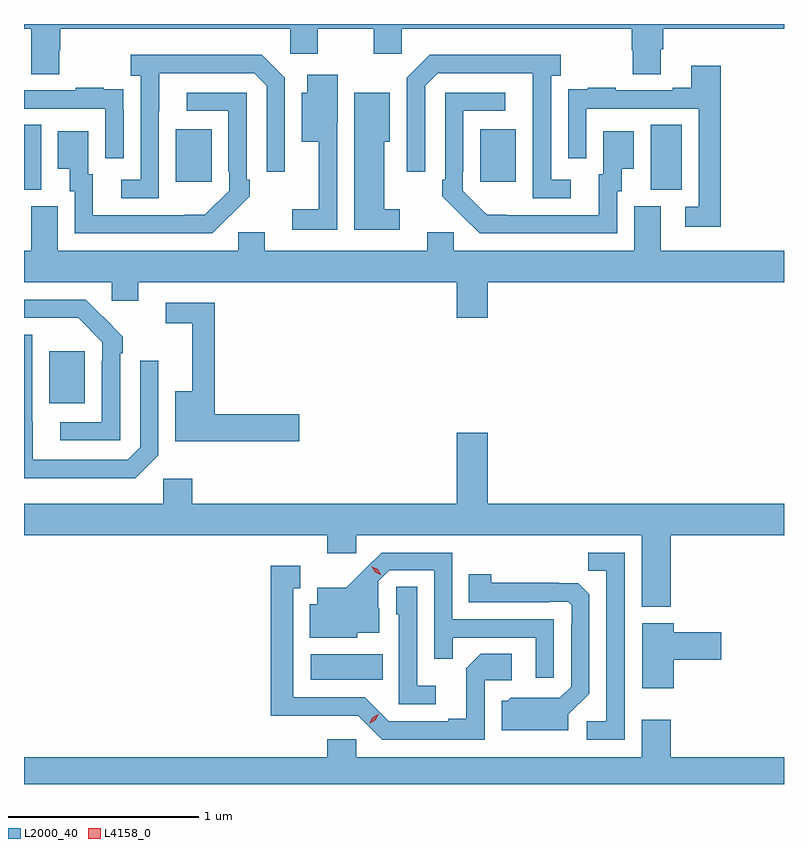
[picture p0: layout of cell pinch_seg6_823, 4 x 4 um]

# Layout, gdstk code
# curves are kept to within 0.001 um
import gdstk
lib = gdstk.Library(unit=1e-6, precision=1e-09)
def R(c, l, rs):  # rectangles x0, y0, x1, y1
    for r in rs: c.add(gdstk.rectangle(r[:2], r[2:], *l))
def P(c, l, *ps):  # polygons
    for p in ps: c.add(gdstk.Polygon(p, *l))
L2000_40 = (2000, 40)
L4158_0 = (4158, 0)

pinch_seg6_823 = lib.new_cell('pinch_seg6_823')
R(pinch_seg6_823, L2000_40, [(140.262,982.538,140.642,982.672), (138.887,983.993,139.075,984.268), (138.754,985.117,138.844,985.46), (142.052,985.117,142.216,985.46), (139.553,985.161,139.741,985.435), (141.155,985.161,141.343,985.435)])
P(pinch_seg6_823, L2000_40, [(138.939,985.851),(138.944,985.851),(138.944,985.964),(140.154,985.964),(140.154,985.833),(140.301,985.833),(140.301,985.964),(140.596,985.964),(140.596,985.833),(140.742,985.833),(140.742,985.964),(141.953,985.964),(141.953,985.851),(141.958,985.851),(141.958,985.726),(142.105,985.726),(142.105,985.858),(142.118,985.858),(142.118,985.964),(142.754,985.964),(142.754,985.99),(138.754,985.99),(138.754,985.964),(138.791,985.964),(138.791,985.726),(138.939,985.726)],
  [(141.631,985.17),(141.528,985.17),(141.528,985.718),(141.58,985.718),(141.58,985.828),(140.89,985.828),(140.769,985.707),(140.769,985.212),(140.865,985.212),(140.865,985.665),(140.931,985.731),(141.431,985.731),(141.432,985.074),(141.631,985.074)],
  [(139.464,985.531),(139.465,985.731),(139.965,985.731),(140.031,985.665),(140.031,985.212),(140.127,985.212),(140.127,985.707),(140.006,985.828),(139.317,985.828),(139.317,985.718),(139.368,985.718),(139.368,985.17),(139.266,985.17),(139.266,985.074),(139.464,985.074)],
  [(142.421,985.771),(142.265,985.771),(142.265,985.654),(142.169,985.654),(142.169,985.641),(141.869,985.641),(141.869,985.654),(141.721,985.654),(141.721,985.647),(141.619,985.647),(141.619,985.538),(141.618,985.538),(141.618,985.284),(141.714,985.284),(141.714,985.545),(142.305,985.545),(142.305,985.029),(142.233,985.029),(142.233,984.924),(142.421,984.924)],
  [(140.403,985.474),(140.404,985.474),(140.404,985.723),(140.246,985.723),(140.246,985.627),(140.216,985.627),(140.216,985.37),(140.306,985.37),(140.306,985.015),(140.166,985.015),(140.166,984.906),(140.403,984.906)],
  [(139.278,985.538),(139.277,985.538),(139.277,985.647),(139.175,985.647),(139.175,985.654),(139.027,985.654),(139.027,985.641),(138.754,985.641),(138.754,985.545),(139.182,985.545),(139.182,985.284),(139.278,985.284)],
  [(141.876,985.11),(141.901,985.11),(141.901,985.229),(141.964,985.229),(141.964,985.426),(141.803,985.426),(141.803,985.2),(141.779,985.2),(141.779,984.984),(141.192,984.985),(141.063,985.113),(141.063,985.213),(141.066,985.213),(141.066,985.533),(141.286,985.533),(141.286,985.629),(140.97,985.629),(140.97,985.171),(140.955,985.171),(140.955,985.083),(141.152,984.888),(141.876,984.888)],
  [(139.835,984.979),(139.836,984.978),(139.941,985.083),(139.941,985.171),(139.926,985.171),(139.926,985.629),(139.611,985.629),(139.611,985.533),(139.83,985.533),(139.83,985.213),(139.833,985.213),(139.833,985.113),(139.705,984.985),(139.117,984.984),(139.117,985.2),(139.093,985.2),(139.093,985.426),(138.932,985.426),(138.932,985.229),(138.995,985.229),(138.995,985.11),(139.02,985.11),(139.02,984.888),(139.744,984.888)],
  [(140.731,985.015),(140.65,985.015),(140.65,985.37),(140.68,985.37),(140.68,985.627),(140.492,985.627),(140.492,984.906),(140.731,984.906)],
  [(141.196,984.632),(142.754,984.632),(142.754,984.796),(142.105,984.796),(142.105,985.032),(141.965,985.032),(141.965,984.796),(141.015,984.796),(141.015,984.894),(140.876,984.894),(140.876,984.796),(140.02,984.796),(140.02,984.894),(139.881,984.894),(139.881,984.796),(138.931,984.796),(138.931,985.032),(138.791,985.032),(138.791,984.796),(138.754,984.796),(138.754,984.632),(139.215,984.632),(139.215,984.534),(139.354,984.534),(139.354,984.632),(141.032,984.632),(141.032,984.444),(141.196,984.444)],
  [(139.26,984.257),(139.275,984.257),(139.275,984.345),(139.078,984.54),(138.754,984.54),(138.754,984.444),(139.039,984.444),(139.167,984.315),(139.167,984.215),(139.164,984.215),(139.164,983.895),(138.945,983.895),(138.945,983.799),(139.26,983.799)],
  [(140.203,983.936),(139.757,983.936),(139.757,984.522),(139.5,984.522),(139.5,984.414),(139.64,984.414),(139.64,984.058),(139.55,984.058),(139.55,983.794),(140.203,983.794)],
  [(139.461,983.721),(139.461,984.217),(139.365,984.217),(139.365,983.763),(139.299,983.697),(138.799,983.697),(138.799,983.897),(138.798,983.897),(138.798,984.354),(138.754,984.354),(138.754,983.6),(139.34,983.6)],
  [(142.157,983.3),(142.754,983.3),(142.754,983.464),(141.196,983.464),(141.196,983.839),(141.032,983.839),(141.032,983.464),(139.64,983.464),(139.64,983.596),(139.488,983.596),(139.488,983.464),(138.754,983.464),(138.754,983.3),(140.351,983.3),(140.351,983.205),(140.502,983.205),(140.502,983.3),(142.004,983.3),(142.004,982.922),(142.157,982.922)],
  [(141.915,983.208),(141.724,983.208),(141.724,983.113),(141.819,983.113),(141.819,982.32),(141.717,982.32),(141.717,982.224),(141.915,982.224)],
  [(141.543,982.857),(141.009,982.857),(141.009,983.208),(140.636,983.208),(140.449,983.023),(140.297,983.023),(140.297,982.936),(140.258,982.936),(140.258,982.76),(140.508,982.76),(140.508,982.787),(140.623,982.787),(140.623,982.916),(140.619,982.916),(140.619,983.058),(140.676,983.115),(140.913,983.115),(140.913,982.648),(141.011,982.648),(141.011,982.761),(141.447,982.761),(141.447,982.548),(141.543,982.548)],
  [(141.18,982.536),(141.322,982.536),(141.322,982.676),(141.157,982.676),(141.081,982.6),(141.081,982.333),(140.987,982.333),(140.987,982.32),(140.673,982.32),(140.547,982.446),(140.17,982.446),(140.17,983.019),(140.209,983.019),(140.209,983.14),(140.052,983.14),(140.052,982.349),(140.514,982.35),(140.64,982.224),(141.18,982.224)],
  [(141.619,982.356),(141.729,982.466),(141.729,982.988),(141.67,983.047),(141.213,983.048),(141.213,983.095),(141.094,983.095),(141.094,982.947),(141.518,982.947),(141.518,982.95),(141.618,982.95),(141.636,982.932),(141.636,982.832),(141.633,982.832),(141.633,982.503),(141.573,982.443),(141.316,982.444),(141.3,982.428),(141.269,982.428),(141.269,982.274),(141.619,982.274)],
  [(140.92,982.507),(140.823,982.507),(140.823,983.027),(140.712,983.027),(140.712,982.884),(140.727,982.884),(140.727,982.41),(140.92,982.41)],
  [(142.174,982.643),(142.423,982.643),(142.423,982.79),(142.174,982.79),(142.174,982.837),(142.007,982.837),(142.007,982.494),(142.174,982.494)],
  [(142.754,982.132),(142.157,982.132),(142.157,982.327),(142.004,982.327),(142.004,982.132),(140.502,982.132),(140.502,982.225),(140.351,982.225),(140.351,982.132),(138.754,982.132),(138.754,981.99),(142.754,981.99)])
P(pinch_seg6_823, L4158_0, [(140.634,983.089),(140.603,983.104),(140.585,983.134),(140.585,983.134),(140.586,983.134),(140.617,983.119),(140.634,983.09),(140.634,983.089)],
  [(140.571,982.307),(140.571,982.308),(140.588,982.34),(140.62,982.359),(140.62,982.359),(140.62,982.359),(140.603,982.326),(140.572,982.307)])

lib.write_gds('pinch_seg6_823.gds')
